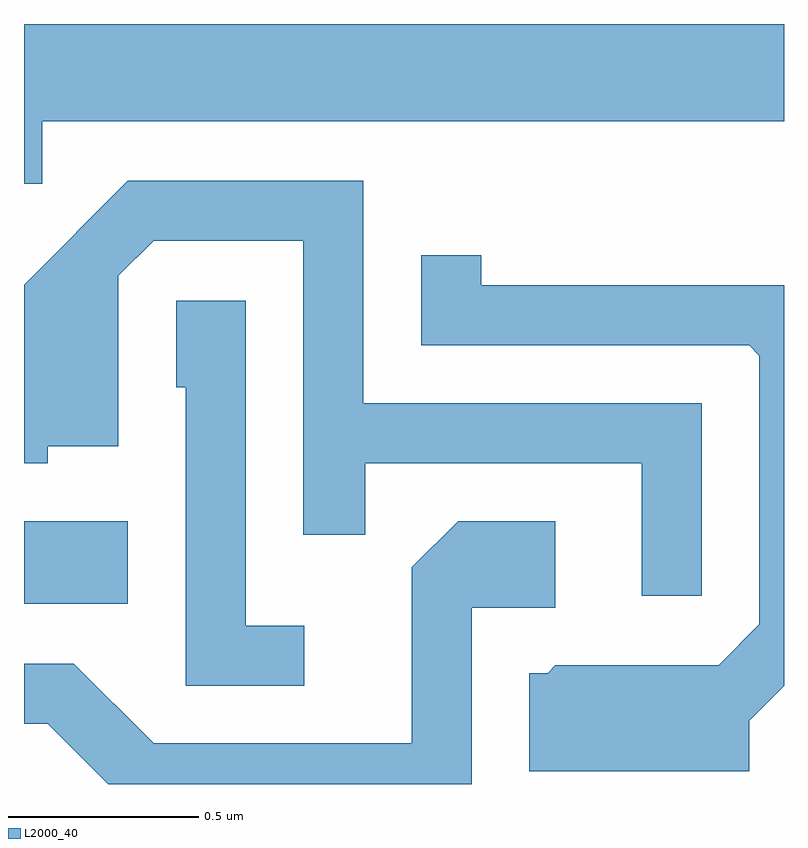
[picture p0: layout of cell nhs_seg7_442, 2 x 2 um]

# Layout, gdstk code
import gdstk
lib = gdstk.Library(unit=1e-6, precision=1e-09)
def R(c, l, rs):  # rectangles x0, y0, x1, y1
    for r in rs: c.add(gdstk.rectangle(r[:2], r[2:], *l))
def P(c, l, *ps):  # polygons
    for p in ps: c.add(gdstk.Polygon(p, *l))
L2000_40 = (2000, 40)

nhs_seg7_442 = lib.new_cell('nhs_seg7_442')
R(nhs_seg7_442, L2000_40, [(188.611,1699.726,188.884,1699.944)])
P(nhs_seg7_442, L2000_40, [(188.659,1700.996),(190.611,1700.996),(190.611,1701.252),(188.611,1701.252),(188.611,1700.831),(188.659,1700.831)],
  [(190.394,1700.254),(189.504,1700.254),(189.504,1700.839),(188.884,1700.839),(188.611,1700.566),(188.611,1700.096),(188.674,1700.096),(188.674,1700.141),(188.859,1700.141),(188.859,1700.589),(188.952,1700.681),(189.346,1700.681),(189.346,1699.908),(189.509,1699.908),(189.509,1700.096),(190.236,1700.096),(190.236,1699.748),(190.394,1699.748)],
  [(190.519,1699.419),(190.611,1699.511),(190.611,1700.564),(189.814,1700.564),(189.814,1700.643),(189.656,1700.643),(189.656,1700.406),(190.519,1700.406),(190.546,1700.379),(190.546,1699.672),(190.439,1699.564),(190.009,1699.564),(189.989,1699.544),(189.941,1699.544),(189.941,1699.286),(190.519,1699.286)],
  [(189.348,1699.669),(189.194,1699.669),(189.194,1700.524),(189.011,1700.524),(189.011,1700.296),(189.036,1700.296),(189.036,1699.511),(189.348,1699.511)],
  [(189.789,1699.716),(190.009,1699.716),(190.009,1699.944),(189.754,1699.944),(189.631,1699.822),(189.631,1699.359),(188.952,1699.359),(188.742,1699.569),(188.611,1699.569),(188.611,1699.411),(188.674,1699.411),(188.833,1699.252),(189.789,1699.252)])

lib.write_gds('nhs_seg7_442.gds')
